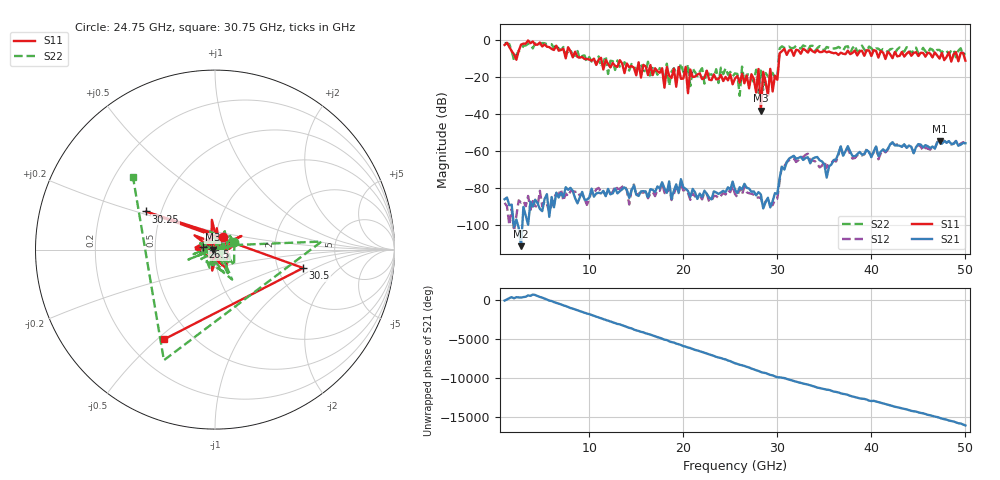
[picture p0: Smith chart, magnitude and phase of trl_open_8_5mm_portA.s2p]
# GHz S RI R 50.0
!freq ReS11 ImS11 ReS21 ImS21 ReS12 ImS12 ReS22 ImS22
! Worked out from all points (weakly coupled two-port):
!   197 points, 1 GHz to 50 GHz, reference 50 ohm
!   highest |S21| = -54.47 dB at 47.25 GHz (marker M1); lowest = -111.2 dB at 2.75 GHz (marker M2)
!   lowest |S11| = -38.1 dB at 28.25 GHz (marker M3), VSWR 1.03, Z = 48.8 + j0.0158 ohm
!   |S11| at or under -10 dB: 2.193 GHz to 2.284 GHz (91.12 MHz wide, 4.07 % of centre); 9.444 GHz to 11.14 GHz (1.7 GHz wide, 16.5 % of centre); 11.27 GHz to 30.2 GHz (18.93 GHz wide, 91.3 % of centre) (the widest 3 of 9)
!   |S22| runs from -30.1 to -1.6 dB; largest |S21 - S12| = 0.0038
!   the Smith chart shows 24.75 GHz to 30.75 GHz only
!   S11 on the Smith chart (normalised r, x): 24.75 GHz: 1.08, +0.15; 26.5 GHz: 0.87, +0.02; 30.25 GHz: 0.41, +0.22; 30.5 GHz: 2.77, -0.76; 30.75 GHz: 0.35, -0.53
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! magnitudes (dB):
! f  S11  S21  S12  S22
! 1 GHz  -2.7  -85.9  -87.8  -1.6
! 2.75 GHz  -2.5  -111.2  -87.7  -5.4
! 9.25 GHz  -9.1  -81.9  -83.1  -8.6
! 17.5 GHz  -17.7  -80.1  -81.3  -15.1
! 24.75 GHz  -21.7  -79.4  -81.0  -18.7
! 25.5 GHz  -20.8  -80.7  -83.1  -18.0
! 26.5 GHz  -23.4  -77.6  -79.2  -23.0
! 27.75 GHz  -28.3  -83.8  -85.2  -16.0
! 28 GHz  -15.6  -82.0  -84.9  -28.5
! 28.25 GHz  -38.1  -83.3  -85.3  -16.5
! 28.5 GHz  -17.1  -90.9  -89.9  -26.9
! 29.5 GHz  -27.8  -87.0  -89.1  -17.7
! 30 GHz  -21.4  -83.0  -85.5  -20.2
! 30.25 GHz  -7.1  -74.4  -76.0  -4.5
! 30.5 GHz  -6.0  -68.3  -67.4  -3.4
! 30.75 GHz  -4.8  -69.9  -68.1  -4.3
! 33.75 GHz  -6.1  -64.0  -65.1  -3.1
! 35.25 GHz  -6.6  -74.2  -68.9  -3.7
! 36.75 GHz  -6.8  -57.3  -57.4  -4.5
! 42 GHz  -7.7  -56.3  -56.6  -4.9
! 47.25 GHz  -10.0  -54.5  -54.2  -5.4
! 50 GHz  -11.1  -55.6  -55.8  -7.2
